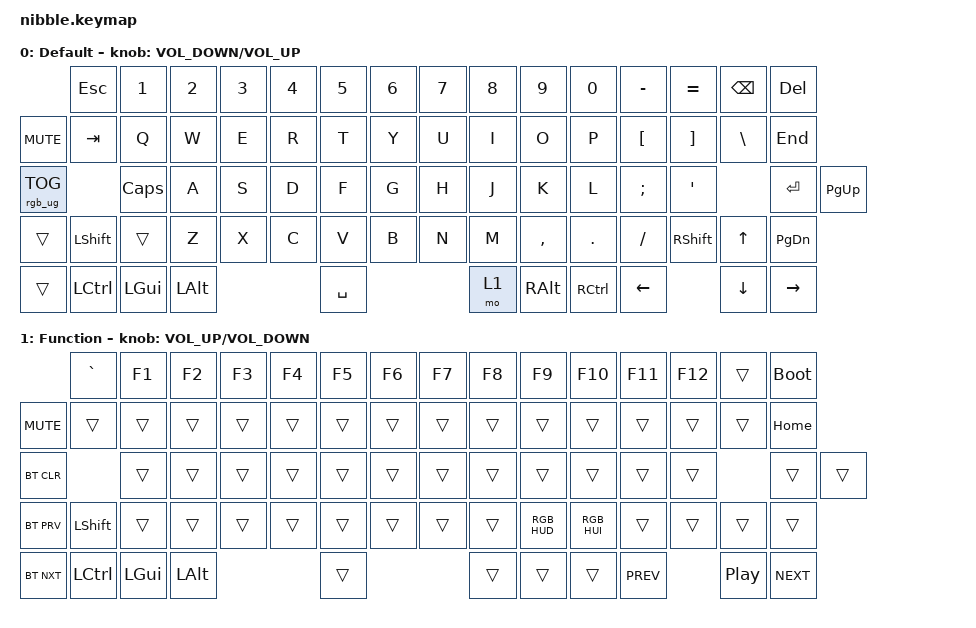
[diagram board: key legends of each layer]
/*
 * Copyright (c) 2020 The ZMK Contributors
 *
 * SPDX-License-Identifier: MIT
 */

#include <behaviors.dtsi>
#include <dt-bindings/zmk/keys.h>
#include <dt-bindings/zmk/bt.h>
#include <dt-bindings/zmk/rgb.h>
#include <../boards/shields/nibble/boards/nice_nano.overlay>

/ {
	sensors {
		compatible = "zmk,keymap-sensors";
		sensors = <&encoder_1>;
	};

	keymap {
		compatible = "zmk,keymap";

		default_layer {
			label = "Default";

			sensor-bindings = <&inc_dec_kp C_VOLUME_DOWN C_VOLUME_UP>;

			bindings = <
            &kp ESC   &kp N1    &kp N2    &kp N3    &kp N4    &kp N5    &kp N6    &kp N7    &kp N8  &kp N9    &kp N0    &kp MINUS &kp EQUAL &kp BSPC &kp DEL
&kp C_MUTE  &kp TAB   &kp Q     &kp W     &kp E     &kp R     &kp T     &kp Y     &kp U     &kp I   &kp O     &kp P     &kp LBKT  &kp RBKT  &kp BSLH &kp END
&rgb_ug RGB_TOG      &kp CLCK  &kp A     &kp S     &kp D     &kp F     &kp G     &kp H     &kp J     &kp K   &kp L     &kp SEMI  &kp SQT             &kp RET  &kp PG_UP
&trans      &kp LSHFT &trans    &kp Z     &kp X     &kp C     &kp V     &kp B     &kp N     &kp M   &kp COMMA &kp DOT   &kp FSLH  &kp RSHFT &kp UP   &kp PG_DN
&trans      &kp LCTRL &kp LGUI  &kp LALT                      &kp SPACE                     &mo 1   &kp RALT  &kp RCTRL &kp LEFT            &kp DOWN &kp RIGHT
			>;
		};
		function_layer {
			label = "Function";

			sensor-bindings = <&inc_dec_kp C_VOLUME_UP C_VOLUME_DOWN>;

			bindings = <
            &kp GRAVE &kp F1    &kp F2    &kp F3    &kp F4    &kp F5    &kp F6    &kp F7    &kp F8  &kp F9    &kp F10   &kp F11   &kp F12   &trans   &bootloader
&kp C_MUTE  &trans    &trans    &trans    &trans    &trans    &trans    &trans    &trans    &trans  &trans    &trans    &trans    &trans    &trans   &kp HOME
&bt BT_CLR  &trans    &trans    &trans    &trans    &trans    &trans    &trans    &trans    &trans  &trans    &trans    &trans              &trans   &trans
&bt BT_PRV  &kp LSHFT &trans    &trans    &trans    &trans    &trans    &trans    &trans    &trans  &RGB_HUD  &RGB_HUI  &trans    &trans    &trans   &trans
&bt BT_NXT  &kp LCTRL &kp LGUI  &kp LALT                        &trans                        &trans  &trans  &trans  &kp C_PREV            &kp C_PP &kp C_NEXT
			>;
		};
	};
};
